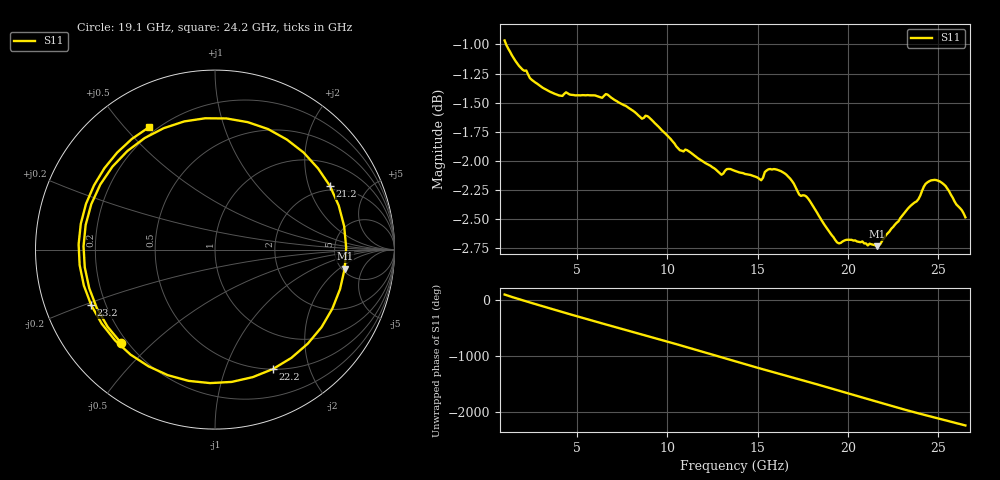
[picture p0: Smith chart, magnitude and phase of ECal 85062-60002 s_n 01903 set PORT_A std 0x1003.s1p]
!Created with skrf (http://scikit-rf.org).
# Hz S RI R 50.0
!freq ReS11 ImS11
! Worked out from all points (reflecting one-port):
!   256 points, 1 GHz to 26.5 GHz, reference 50 ohm
!   lowest |S11| = -2.7 dB at 21.6 GHz (marker M1), VSWR 6.42, Z = 265 - j120 ohm
!   phase of S11 starts at 101 deg and turns -2334 deg over the sweep
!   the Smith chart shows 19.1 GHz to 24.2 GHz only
!   S11 on the Smith chart (normalised r, x): 19.1 GHz: 0.18, -0.40; 21.2 GHz: 1.82, +2.78; 22.2 GHz: 0.50, -1.48; 23.2 GHz: 0.15, -0.21; 24.2 GHz: 0.17, +0.58
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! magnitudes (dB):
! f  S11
! 1 GHz  -1.0
! 2.4 GHz  -1.3
! 4.2 GHz  -1.4
! 6.6 GHz  -1.4
! 7.4 GHz  -1.5
! 8.6 GHz  -1.6
! 9 GHz  -1.6
! 10.6 GHz  -1.9
! 13 GHz  -2.1
! 13.8 GHz  -2.1
! 15.2 GHz  -2.2
! 15.5 GHz  -2.1
! 16 GHz  -2.1
! 17 GHz  -2.2
! 17.8 GHz  -2.3
! 19.1 GHz  -2.6
! 19.5 GHz  -2.7
! 20.2 GHz  -2.7
! 21.2 GHz  -2.7
! 21.6 GHz  -2.7
! 22.2 GHz  -2.6
! 23.2 GHz  -2.4
! 23.4 GHz  -2.4
! 23.9 GHz  -2.3
! 24.2 GHz  -2.2
! 24.6 GHz  -2.2
! 25.2 GHz  -2.2
! 26.5 GHz  -2.5
